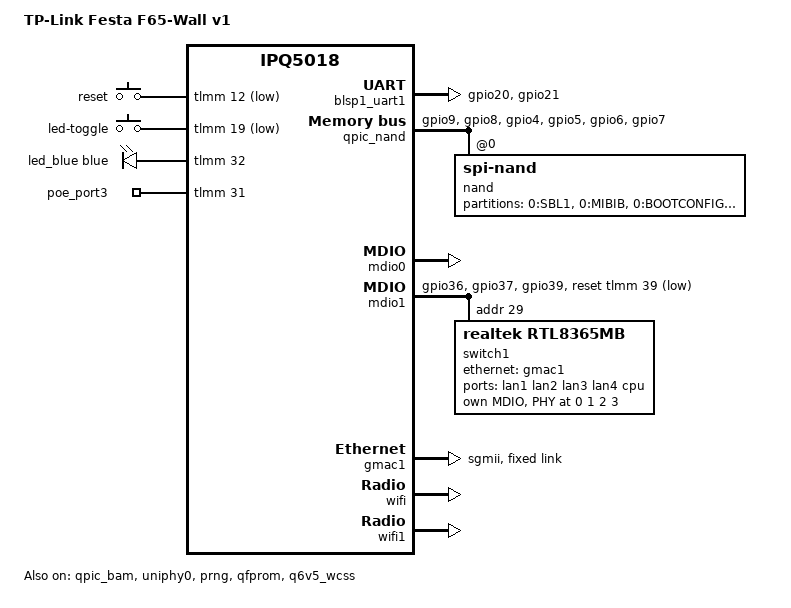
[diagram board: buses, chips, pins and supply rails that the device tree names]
// SPDX-License-Identifier: GPL-2.0-or-later OR MIT

/dts-v1/;

#include "ipq5018.dtsi"
#include "ipq5018-ess.dtsi"
#include "ipq5018-qcn6122.dtsi"

#include <dt-bindings/gpio/gpio.h>
#include <dt-bindings/input/input.h>
#include <dt-bindings/leds/common.h>
#include <dt-bindings/net/qca-uniphy.h>

/ {
	model = "TP-Link Festa F65-Wall v1";
	compatible = "tplink,festa-f65-wall-v1", "qcom,ipq5018";

	aliases {
		led-boot = &led_blue;
		led-failsafe = &led_blue;
		led-running = &led_blue;
		led-upgrade = &led_blue;
		serial0 = &blsp1_uart1;
		ethernet1 = &gmac1;
		label-mac-device = <&gmac1>;
	};

	keys {
		compatible = "gpio-keys";
		pinctrl-0 = <&button_pins>;
		pinctrl-names = "default";

		reset {
			label = "reset";
			gpios = <&tlmm 12 GPIO_ACTIVE_LOW>;
			linux,code = <KEY_RESTART>;
		};

		led_toggle {
			label = "led-toggle";
			gpios = <&tlmm 19 GPIO_ACTIVE_LOW>;
			linux,code = <KEY_LIGHTS_TOGGLE>;
		};
	};

	leds {
		compatible = "gpio-leds";

		led_blue: led-blue {
			function = LED_FUNCTION_STATUS;
			color = <LED_COLOR_ID_BLUE>;
			gpios = <&tlmm 32 GPIO_ACTIVE_HIGH>;
			default-state = "on";
		};
	};

	gpio_export {
		compatible = "gpio-export";
		#size-cells = <0>;

		poe_port3 {
			gpio-export,name = "poe_port3";
			gpio-export,output = <1>;
			gpios = <&tlmm 31 GPIO_ACTIVE_HIGH>;
		};
	};

	chosen {
		stdout-path = "serial0:115200n8";
		bootargs-append =
			" ubi.block=0,rootfs root=/dev/ubiblock0_1 swiotlb=1 coherent_pool=2M";
	};

};

&tlmm {
	mdio1_pins: mdio1-state {
		mdc-pins {
			pins = "gpio36";
			function = "mdc";
			drive-strength = <8>;
			bias-pull-up;
		};

		mdio-pins {
			pins = "gpio37";
			function = "mdio";
			drive-strength = <8>;
			bias-pull-up;
		};
	};

	serial_0_pins: uart0-state {
		pins = "gpio20", "gpio21";
		function = "blsp0_uart0";
		drive-strength = <8>;
		bias-disable;
	};

	switch_reset_pins: switch-reset-state {
		pins = "gpio39";
		function = "gpio";
		drive-strength = <8>;
		bias-pull-down;
	};

	button_pins: button-state {
		pins = "gpio12", "gpio19";
		function = "gpio";
		drive-strength = <8>;
		bias-pull-up;
	};

	qpic_pins: qpic-state {
		clock-pins {
			pins = "gpio9";
			function = "qspi_clk";
			drive-strength = <8>;
			bias-disable;
		};

		cs-pins {
			pins = "gpio8";
			function = "qspi_cs";
			drive-strength = <8>;
			bias-disable;
		};

		data-pins {
			pins = "gpio4", "gpio5", "gpio6", "gpio7";
			function = "qspi_data";
			drive-strength = <8>;
			bias-disable;
		};
	};
};

&blsp1_uart1 {
	status = "okay";
	pinctrl-0 = <&serial_0_pins>;
	pinctrl-names = "default";
};

&qpic_bam {
	status = "okay";
};

&qpic_nand {
	status = "okay";
	pinctrl-0 = <&qpic_pins>;
	pinctrl-names = "default";

	nand@0 {
		compatible = "spi-nand";
		reg = <0>;
		nand-ecc-engine = <&qpic_nand>;
		nand-ecc-strength = <4>;
		nand-ecc-step-size = <512>;
		nand-bus-width = <8>;

		partitions {
			compatible = "fixed-partitions";
			#address-cells = <1>;
			#size-cells = <1>;

			partition@0 {
				label = "0:SBL1";
				reg = <0x0 0x80000>;
				read-only;
			};

			partition@80000 {
				label = "0:MIBIB";
				reg = <0x80000 0x80000>;
				read-only;
			};

			partition@100000 {
				label = "0:BOOTCONFIG";
				reg = <0x100000 0x100000>;
				read-only;
			};

			partition@200000 {
				label = "0:BOOTCONFIG1";
				reg = <0x200000 0x100000>;
				read-only;
			};

			partition@300000 {
				label = "0:QSEE";
				reg = <0x300000 0x200000>;
				read-only;
			};

			partition@500000 {
				label = "0:DEVCFG";
				reg = <0x500000 0x40000>;
				read-only;
			};

			partition@540000 {
				label = "0:CDT";
				reg = <0x540000 0x80000>;
				read-only;
			};

			partition@5c0000 {
				label = "0:APPSBLENV";
				reg = <0x5c0000 0x440000>;
			};

			partition@a00000 {
				label = "0:APPSBL";
				reg = <0xa00000 0x300000>;
				read-only;
			};

			partition@d00000 {
				label = "0:APPSBL_1";
				reg = <0xd00000 0x300000>;
				read-only;
			};

			partition@1000000 {
				label = "oops";
				reg = <0x1000000 0x100000>;
				read-only;
			};

			partition@1100000 {
				label = "rootfs";
				reg = <0x1100000 0x2380000>;
			};

			partition@3480000 {
				label = "rootfs_1";
				reg = <0x3480000 0x2380000>;
			};

			partition@5800000 {
				label = "factory_data";
				reg = <0x5800000 0x800000>;
				read-only;
			};

			partition@6000000 {
				label = "runtime_data";
				reg = <0x6000000 0xc00000>;
				read-only;
			};

			partition@6c00000 {
				label = "backup_data";
				reg = <0x6c00000 0x800000>;
				read-only;
			};

			partition@7400000 {
				label = "runtime_backup";
				reg = <0x7400000 0x600000>;
				read-only;
			};
		};
	};
};

&uniphy0 {
	status = "okay";
	assigned-clocks = <&uniphy0 UNIPHY_CLK_REF>;
	assigned-clock-rates = <UNIPHY_REFCLK_25MHZ>;
};

&mdio0 {
	status = "okay";
};

&mdio1 {
	status = "okay";
	pinctrl-0 = <&mdio1_pins>, <&switch_reset_pins>;
	pinctrl-names = "default";
	reset-gpios = <&tlmm 39 GPIO_ACTIVE_LOW>;

	switch1: ethernet-switch@1d {
		compatible = "realtek,rtl8365mb";
		reg = <29>;

		mdio {
			#address-cells = <1>;
			#size-cells = <0>;

			rtl8367s_0: ethernet-phy@0 {
				reg = <0>;
			};

			rtl8367s_1: ethernet-phy@1 {
				reg = <1>;
			};

			rtl8367s_2: ethernet-phy@2 {
				reg = <2>;
			};

			rtl8367s_3: ethernet-phy@3 {
				reg = <3>;
			};
		};

		ports {
			#address-cells = <1>;
			#size-cells = <0>;

			port@0 {
				reg = <0>;
				label = "lan1";
				phy-handle = <&rtl8367s_0>;
			};

			port@1 {
				reg = <1>;
				label = "lan2";
				phy-handle = <&rtl8367s_1>;
			};

			port@2 {
				reg = <2>;
				label = "lan3";
				phy-handle = <&rtl8367s_2>;
			};

			port@3 {
				reg = <3>;
				label = "lan4";
				phy-handle = <&rtl8367s_3>;
			};

			port@6 {
				reg = <6>;
				label = "cpu";
				phy-mode = "sgmii";
				ethernet = <&gmac1>;

				fixed-link {
					speed = <1000>;
					full-duplex;
				};
			};
		};
	};
};

&gmac1 {
	status = "okay";
	phy-mode = "sgmii";

	fixed-link {
		speed = <1000>;
		full-duplex;
	};
};

&sleep_clk {
	clock-frequency = <32000>;
};

&xo_board_clk {
	clock-div = <4>;
	clock-mult = <1>;
};

&prng {
	status = "okay";
};

&qfprom {
	status = "okay";
};

&q6v5_wcss {
	status = "okay";
	boot-args = <2 4 2 15 0 0>;
};

&wifi {
	status = "okay";

	qcom,rproc = <&q6_wcss_pd1>;
	qcom,calibration-variant = "TP-Link-Festa-F65-Wall-v1";
	qcom,ath11k-fw-memory-mode = <1>;
	qcom,bdf-addr = <0x4c400000>;

	ieee80211-freq-limit = <2400000 2483000>;
};

&wifi1 {
	status = "okay";

	qcom,rproc = <&q6_wcss_pd2>;
	qcom,userpd-subsys-name = "q6v5_wcss_userpd2";
	qcom,calibration-variant = "TP-Link-Festa-F65-Wall-v1";
	qcom,ath11k-fw-memory-mode = <1>;
	qcom,bdf-addr = <0x4d100000>;
	qcom,m3-dump-addr = <0x4df00000>;

	ieee80211-freq-limit = <5150000 5895000>;
};
